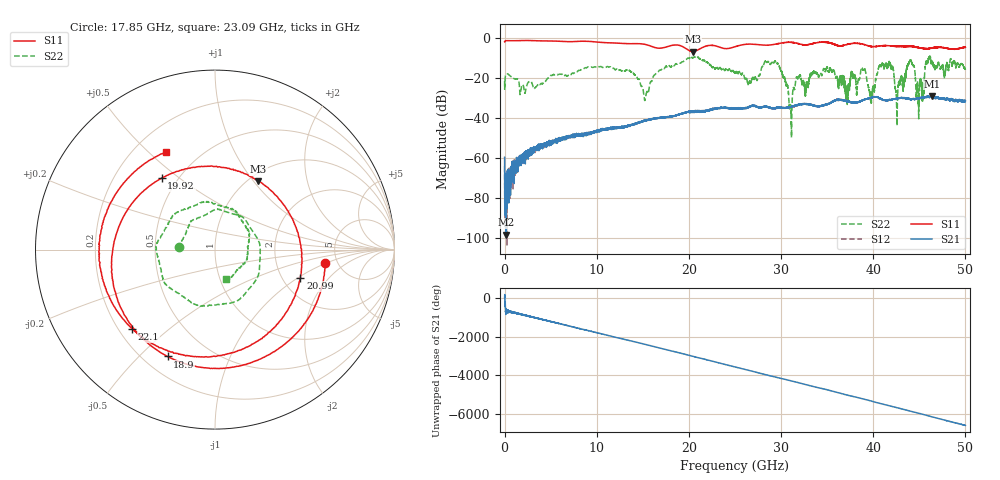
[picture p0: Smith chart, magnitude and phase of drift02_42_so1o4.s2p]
!Created with skrf (http://scikit-rf.org).
# Hz S RI R 50.0
!freq ReS11 ImS11 ReS21 ImS21 ReS12 ImS12 ReS22 ImS22
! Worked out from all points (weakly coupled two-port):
!   10001 points, 300 kHz to 50 GHz, reference 50 ohm
!   highest |S21| = -29.10 dB at 46.4 GHz (marker M1); lowest = -98.3 dB at 180.3 MHz (marker M2)
!   lowest |S11| = -6.9 dB at 20.41 GHz (marker M3), VSWR 2.64, Z = 55.4 + j52.8 ohm
!   |S11| at or under -10 dB: nowhere
!   |S22| runs from -49.9 to -9.1 dB; largest |S21 - S12| = 0.0032
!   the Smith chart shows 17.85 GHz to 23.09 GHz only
!   S11 on the Smith chart (normalised r, x): 17.85 GHz: 4.00, -0.94; 18.9 GHz: 0.29, -0.61; 19.92 GHz: 0.41, +0.43; 20.99 GHz: 2.50, -1.05; 22.1 GHz: 0.25, -0.38; 23.09 GHz: 0.33, +0.57
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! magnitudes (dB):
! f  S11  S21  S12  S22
! 300 kHz  -2.0  -59.7  -64.3  -21.7
! 180.3 MHz  -1.4  -98.3  -84.6  -18.1
! 8.335 GHz  -1.7  -48.3  -48.8  -15.7
! 15.33 GHz  -3.4  -41.4  -41.3  -28.9
! 16.67 GHz  -5.2  -40.0  -40.2  -17.0
! 17.85 GHz  -4.2  -39.3  -39.5  -13.9
! 18.9 GHz  -3.7  -38.4  -38.3  -12.5
! 19.92 GHz  -6.1  -37.1  -37.1  -10.1
! 20.41 GHz  -6.9  -37.1  -36.9  -10.0
! 20.99 GHz  -6.0  -36.8  -36.7  -9.8
! 22.1 GHz  -3.9  -36.2  -36.3  -13.0
! 23.09 GHz  -4.3  -35.3  -35.2  -15.0
! 25 GHz  -4.5  -35.2  -35.2  -17.6
! 29.51 GHz  -3.1  -34.8  -35.1  -12.6
! 31.03 GHz  -2.3  -34.6  -34.6  -33.4
! 33.34 GHz  -3.0  -33.4  -33.5  -18.2
! 38.92 GHz  -3.2  -31.1  -31.1  -16.1
! 39.74 GHz  -4.3  -29.9  -30.0  -30.6
! 41.67 GHz  -4.0  -30.9  -31.2  -13.1
! 42.58 GHz  -4.3  -30.5  -30.2  -43.6
! 46.4 GHz  -5.1  -29.1  -29.6  -12.1
! 50 GHz  -4.8  -31.5  -31.7  -16.0
